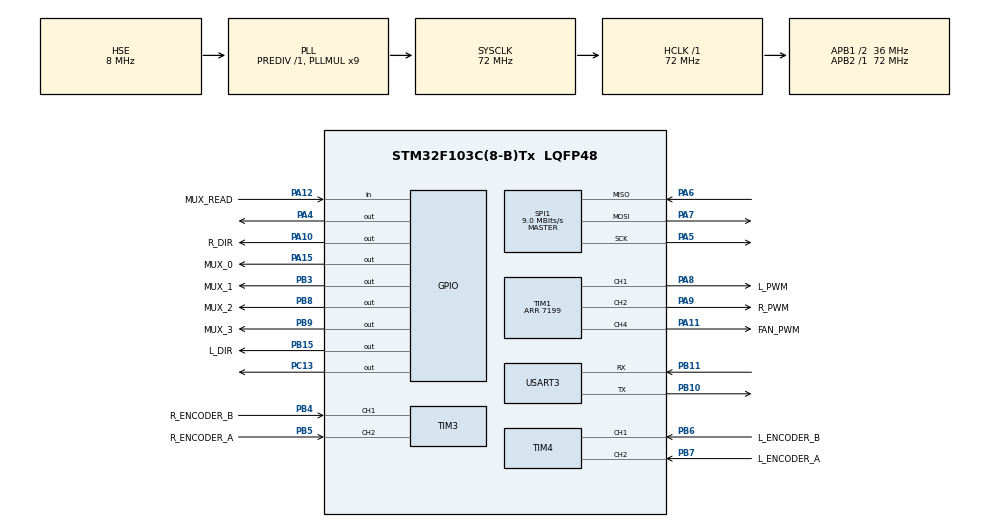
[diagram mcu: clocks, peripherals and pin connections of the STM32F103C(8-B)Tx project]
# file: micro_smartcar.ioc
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Dma.Request0=SPI1_RX
Dma.Request1=SPI1_TX
Dma.SPI1_RX.0.Direction=DMA_PERIPH_TO_MEMORY
Dma.SPI1_RX.0.Instance=DMA1_Channel2
Dma.SPI1_RX.0.MemDataAlignment=DMA_MDATAALIGN_BYTE
Dma.SPI1_RX.0.MemInc=DMA_MINC_ENABLE
Dma.SPI1_RX.0.Mode=DMA_NORMAL
Dma.SPI1_RX.0.PeriphDataAlignment=DMA_PDATAALIGN_BYTE
Dma.SPI1_RX.0.PeriphInc=DMA_PINC_DISABLE
Dma.SPI1_RX.0.Priority=DMA_PRIORITY_LOW
Dma.SPI1_TX.1.Direction=DMA_MEMORY_TO_PERIPH
Dma.SPI1_TX.1.Instance=DMA1_Channel3
Dma.SPI1_TX.1.MemDataAlignment=DMA_MDATAALIGN_BYTE
Dma.SPI1_TX.1.MemInc=DMA_MINC_ENABLE
Dma.SPI1_TX.1.Mode=DMA_NORMAL
Dma.SPI1_TX.1.PeriphDataAlignment=DMA_PDATAALIGN_BYTE
Dma.SPI1_TX.1.PeriphInc=DMA_PINC_DISABLE
Dma.SPI1_TX.1.Priority=DMA_PRIORITY_LOW
Mcu.Family=STM32F1
Mcu.Name=STM32F103C(8-B)Tx
Mcu.Package=LQFP48
NVIC.DMA1_Channel2_IRQn=true\:0\:0\:false\:false\:true\:false\:true\:true
NVIC.DMA1_Channel3_IRQn=true\:0\:0\:false\:false\:true\:false\:true\:true
NVIC.PriorityGroup=NVIC_PRIORITYGROUP_4
NVIC.RCC_IRQn=true\:0\:0\:false\:false\:true\:true\:false\:true
NVIC.SPI1_IRQn=true\:0\:0\:false\:false\:true\:true\:true\:true
NVIC.TIM2_IRQn=true\:1\:0\:true\:false\:true\:true\:true\:true
NVIC.TIM3_IRQn=true\:0\:0\:false\:false\:true\:true\:true\:true
NVIC.TIM4_IRQn=true\:0\:0\:false\:false\:true\:true\:true\:true
NVIC.USART3_IRQn=true\:0\:0\:false\:false\:true\:true\:true\:true
PA10.GPIO_Label=R_DIR
PA10.Signal=GPIO_Output
PA11.GPIO_Label=FAN_PWM
PA11.Signal=S_TIM1_CH4
PA12.GPIO_Label=MUX_READ
PA12.Signal=GPIO_Input
PA13.Mode=Serial_Wire
PA13.Signal=SYS_JTMS-SWDIO
PA14.Mode=Serial_Wire
PA14.Signal=SYS_JTCK-SWCLK
PA15.GPIO_Label=MUX_0
PA15.GPIO_Speed=GPIO_SPEED_FREQ_MEDIUM
PA15.Signal=GPIO_Output
PA4.GPIO_PuPd=GPIO_NOPULL
PA4.GPIO_Speed=GPIO_SPEED_FREQ_HIGH
PA4.Signal=GPIO_Output
PA5.Mode=Full_Duplex_Master
PA5.Signal=SPI1_SCK
PA6.Mode=Full_Duplex_Master
PA6.Signal=SPI1_MISO
PA7.Mode=Full_Duplex_Master
PA7.Signal=SPI1_MOSI
PA8.GPIO_Label=L_PWM
PA8.Signal=S_TIM1_CH1
PA9.GPIO_Label=R_PWM
PA9.Signal=S_TIM1_CH2
PB10.Mode=Asynchronous
PB10.Signal=USART3_TX
PB11.Mode=Asynchronous
PB11.Signal=USART3_RX
PB15.GPIO_Label=L_DIR
PB15.Signal=GPIO_Output
PB3.GPIO_Label=MUX_1
PB3.GPIO_Speed=GPIO_SPEED_FREQ_MEDIUM
PB3.Signal=GPIO_Output
PB4.GPIO_Label=R_ENCODER_B
PB4.Signal=S_TIM3_CH1
PB5.GPIO_Label=R_ENCODER_A
PB5.Signal=S_TIM3_CH2
PB6.GPIO_Label=L_ENCODER_B
PB6.Signal=S_TIM4_CH1
PB7.GPIO_Label=L_ENCODER_A
PB7.Signal=S_TIM4_CH2
PB8.GPIO_Label=MUX_2
PB8.GPIO_Speed=GPIO_SPEED_FREQ_MEDIUM
PB8.Signal=GPIO_Output
PB9.GPIO_Label=MUX_3
PB9.GPIO_Speed=GPIO_SPEED_FREQ_MEDIUM
PB9.Signal=GPIO_Output
PC13-TAMPER-RTC.GPIO_ModeDefaultOutputPP=GPIO_MODE_OUTPUT_OD
PC13-TAMPER-RTC.GPIO_PuPd=GPIO_NOPULL
PC13-TAMPER-RTC.Signal=GPIO_Output
PD0-OSC_IN.Mode=HSE-External-Oscillator
PD0-OSC_IN.Signal=RCC_OSC_IN
PD1-OSC_OUT.Mode=HSE-External-Oscillator
PD1-OSC_OUT.Signal=RCC_OSC_OUT
ProjectManager.HeapSize=0x200
ProjectManager.StackSize=0x400
ProjectManager.TargetToolchain=MDK-ARM V5.32
RCC.AHBFreq_Value=72000000
RCC.APB1CLKDivider=RCC_HCLK_DIV2
RCC.APB1Freq_Value=36000000
RCC.APB1TimFreq_Value=72000000
RCC.APB2Freq_Value=72000000
RCC.APB2TimFreq_Value=72000000
RCC.HCLKFreq_Value=72000000
RCC.PLLMUL=RCC_PLL_MUL9
RCC.PLLSourceVirtual=RCC_PLLSOURCE_HSE
RCC.SYSCLKFreq_VALUE=72000000
RCC.SYSCLKSource=RCC_SYSCLKSOURCE_PLLCLK
RCC.USBFreq_Value=72000000
SH.S_TIM1_CH1.0=TIM1_CH1,PWM Generation1 CH1
SH.S_TIM1_CH2.0=TIM1_CH2,PWM Generation2 CH2
SH.S_TIM1_CH4.0=TIM1_CH4,PWM Generation4 CH4
SH.S_TIM3_CH1.0=TIM3_CH1,Encoder_Interface
SH.S_TIM3_CH2.0=TIM3_CH2,Encoder_Interface
SH.S_TIM4_CH1.0=TIM4_CH1,Encoder_Interface
SH.S_TIM4_CH2.0=TIM4_CH2,Encoder_Interface
SPI1.BaudRatePrescaler=SPI_BAUDRATEPRESCALER_8
SPI1.CalculateBaudRate=9.0 MBits/s
SPI1.Direction=SPI_DIRECTION_2LINES
SPI1.Mode=SPI_MODE_MASTER
SPI1.VirtualType=VM_MASTER
TIM1.Channel-PWM\ Generation1\ CH1=TIM_CHANNEL_1
TIM1.Channel-PWM\ Generation2\ CH2=TIM_CHANNEL_2
TIM1.Channel-PWM\ Generation4\ CH4=TIM_CHANNEL_4
TIM1.Period=7199
TIM1.Pulse-PWM\ Generation1\ CH1=1000
TIM2.Period=4999
TIM2.Prescaler=71
TIM3.EncoderMode=TIM_ENCODERMODE_TI12
TIM4.EncoderMode=TIM_ENCODERMODE_TI12
USART3.VirtualMode=VM_ASYNC
VP_TIM1_VS_ClockSourceINT.Mode=Internal
VP_TIM2_VS_ClockSourceINT.Mode=Internal
board=custom

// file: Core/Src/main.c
/* USER CODE BEGIN Header */
/**
  ******************************************************************************
  * @file           : main.c
  * @brief          : Main program body
  ******************************************************************************
  * @attention
  *
  * Copyright (c) 2025 STMicroelectronics.
  * All rights reserved.
  *
  * This software is licensed under terms that can be found in the LICENSE file
  * in the root directory of this software component.
  * If no LICENSE file comes with this software, it is provided AS-IS.
  *
  * 本文件内含BMI270�????螺仪的使用示�????
  ******************************************************************************
  */
/* USER CODE END Header */
#include "main.h"

/* USER CODE BEGIN Includes */
#include "dodo_BMI270.h" //陀螺仪驱动
#include "multiplexer.h"//多路复用器驱动，用于读取光电管读数
#include "stdio.h"
#include "string.h"
/* USER CODE END Includes */

/* USER CODE BEGIN PD */
//#define integralLimit0 (20000)  //此值需计算
//#define integralLimit1 (20000)  后面加了
/* USER CODE END PD */

SPI_HandleTypeDef hspi1;
DMA_HandleTypeDef hdma_spi1_rx;
DMA_HandleTypeDef hdma_spi1_tx;

TIM_HandleTypeDef htim1;
TIM_HandleTypeDef htim2;
TIM_HandleTypeDef htim3;
TIM_HandleTypeDef htim4;

UART_HandleTypeDef huart3;

void SystemClock_Config(void);
static void MX_GPIO_Init(void);
static void MX_DMA_Init(void);
static void MX_SPI1_Init(void);
static void MX_TIM1_Init(void);
static void MX_TIM2_Init(void);
static void MX_TIM3_Init(void);
static void MX_USART3_UART_Init(void);
static void MX_TIM4_Init(void);

/* USER CODE BEGIN 0 */
int fputc(int ch, FILE *f)
{
  HAL_UART_Transmit(&huart3, (uint8_t *)&ch, 1, 0xffff);
  return ch;
}
	//光电管
  int8_t photo_weight[12] = {-4, -3, -2, -1, 0, 0, 0, 0, 1, 2, 3, 4};  // 权值
  uint8_t photo_val[12]={0};
	uint8_t restore_past_vio[12]={0}; //不全为0的上一帧数值

  float gyro_x, gyro_y, gyro_z, accel_x, accel_y, accel_z;//陀螺仪数据
  // PID控制器结构体
typedef struct {
    // 参数
    float Kp;
    float Ki;
    float Kd;

    // 状态变量
    float current_error;
    float pre_error;
    float inte_error;

    // 积分限幅
    float integral_limit;
} PID_Controller;

typedef enum
{
	  TASK_RUNNING,
	  TASK_DONE,
	  TASK_STOP,  //给出标志位的枚举类型
	  TASK_READY

}taskstate;

// 全局变量
/*const float Kp_angle=0;
const float Kd_angle=0;*/
volatile float measured_angle;

/*const float Kp_Angularvelocity=0;
const float Ki_Angularvelocity=0;
const float Kd_Angularvelocity=0;*/

/*const float Kp_vio=0;
const float Ki_vio=0;*/

const float target_angle=0;    // 与光电管PD相关的参数
uint16_t mux_value;            //存储光电管从多路复用器（MUX）读取到的 “打包数据”

volatile float target_Angularvelocity=0;
volatile float measured_Angularvelocity=0;
const float integralLimit0 = 100.0f;  // 角速度环积分限幅

volatile float target_translation_vio=90;//目标平动速度，给90貌似不太对？如果我们pwm占空比限幅是3600的话，这玩意乘以kp一下子就干满了？
volatile float target_leftwheelvio=0;
volatile float rotatevio_adding=0;
volatile float target_rightwheelvio=0;
volatile float measured_leftwheelvio=0;
volatile float measured_rightwheelvio=0;
volatile float circle_angle=0;
const float integralLimit1 = 100.0f;  // 速度环积分限幅

float leftoutput;
float leftpwm;
float rightoutput;
float rightpwm;
//标志位初始化
taskstate Circle_CalculateAngle_Flag=TASK_STOP;//是否开始计算角度（是否进入被环岛岔路入口干扰最近点）
taskstate Circle_OUT_Flag=TASK_STOP;//是否转完了360度刚出环岛
taskstate Is_Straight_Flag=TASK_STOP;//车身方向是否大致是直的
taskstate Circle_Destination_Flag=TASK_STOP;//车是否到达不被环岛干扰的最远点

//三个结构体定义
PID_Controller angle_pid_pd = {.Kp=425, 0, .Kd=1, 0, 0, 0, 0};  // 角度环只有PD
PID_Controller angular_velocity_pid_pid = {.Kp=0.33, .Ki=0.01, .Kd=0.001, 0, 0, 0, integralLimit0};
PID_Controller velocity_pid_pi_left = {.Kp=66, .Ki=5, 0, 0, 0, 0, integralLimit1};
PID_Controller velocity_pid_pi_right = {.Kp=66, .Ki=5, 0, 0, 0, 0, integralLimit1};

//前三个为PID参数，接下来三个是目前误差，前一次误差，以及积分加和误差，最后一个参数是积分限幅

void Calculate_measured_angle()
{
	if(circle_angle<350)//具体给345-360的哪个值到时候看效果
	{circle_angle+=gyro_z*0.005;}
	else{
	 Circle_OUT_Flag=TASK_DONE;
	 Circle_CalculateAngle_Flag=TASK_STOP;
	 circle_angle=0;
	}
    // 实现测量环岛转向角度计算，误差极小
	}

// PID计算函数
float PID_Calculate(PID_Controller* pid, float target, float measured)
{
    pid->current_error = target - measured;

    float output = pid->Kp * pid->current_error +
                   pid->Kd * (pid->current_error - pid->pre_error);

    // 只有Ki不为0时才计算积分项
    if (pid->Ki != 0) {
        pid->inte_error += pid->current_error;

        // 积分饱和处理
        if (pid->inte_error > pid->integral_limit) {
            pid->inte_error = pid->integral_limit;
        } else if (pid->inte_error < -pid->integral_limit) {
            pid->inte_error = -pid->integral_limit;
        }

        output += pid->Ki * pid->inte_error;
    }

    pid->pre_error = pid->current_error;
    return output;
}

void PIDcontrollor() // 第一种方案PID
{
	// 转向环，加入环岛判断与控制，按这样的逻辑转的不够不会出问题，但是转过头就会亖了（直行标志位的意义在于转角度少了能及时把控制权交给光电管PID）
	  if(Is_Straight_Flag==TASK_RUNNING && Circle_Destination_Flag != TASK_DONE )
    {
			target_Angularvelocity = 0;//防止再次进入环岛
		}
    else
		{
			target_Angularvelocity = PID_Calculate(&angle_pid_pd, target_angle, measured_angle);
			Circle_Destination_Flag=TASK_STOP;//清空标志位
		}
    // 角速度环
		if (gyro_z>2||gyro_z<-2)
		{measured_Angularvelocity=gyro_z;}
		else
		{measured_Angularvelocity=0;}
			//左正右负
    rotatevio_adding = PID_Calculate(&angular_velocity_pid_pid, target_Angularvelocity, measured_Angularvelocity);

    // 速度环
    target_leftwheelvio  =  target_translation_vio - rotatevio_adding;
    target_rightwheelvio = target_translation_vio + rotatevio_adding;

        // 左右轮分别控制
    rightoutput = PID_Calculate(&velocity_pid_pi_right, target_rightwheelvio, measured_rightwheelvio);
    leftoutput = PID_Calculate(&velocity_pid_pi_left, target_leftwheelvio, measured_leftwheelvio);

}
void navigated_running()
{
		int counter=0;

		for(int j=0;j<=11;j++)
			{
				if(photo_val[j]==0)
				{
					counter++;          //检测所有的光电管是不是都检测到界外
				}
			}

		if(counter == 12)
			{
				  for(int a=0;a<=11;a++)
			    {
					  photo_val[a]=restore_past_vio[a];
						measured_angle += photo_weight[a] * (photo_val[a]);
					}
			}
		else
			{
				for(int m=0;m<=11;m++)
			    {
					  restore_past_vio[m]=photo_val[m];
						measured_angle += photo_weight[m] * (photo_val[m]);
					}

			}

}

void Circle_Handler()
{

		if (photo_val[5]==1&&photo_val[6]==1)
		{
		   Is_Straight_Flag=TASK_RUNNING;           //挂起直行标志位（允许偏一点）
		}
		if(Is_Straight_Flag == TASK_RUNNING && photo_val[0]==1 && photo_val[2]==0)
		{
			if(Circle_OUT_Flag!=TASK_DONE)
			{
				Circle_CalculateAngle_Flag=  TASK_READY; //挂起检测到环岛入口的标志位
			}
      else
			{
			    Circle_Destination_Flag=TASK_DONE;  //挂起检测到环岛出口的标志位
				Circle_OUT_Flag=TASK_STOP;//清空标志位
			}
	  }
		if(Circle_CalculateAngle_Flag == TASK_READY)
		{
			Calculate_measured_angle();  //检测到入口后，开始解算角度
		}

}

void HAL_TIM_PeriodElapsedCallback(TIM_HandleTypeDef *htim){
	if(htim==&htim2){		//TIM2是5ms中断
		measured_leftwheelvio  = (int16_t)__HAL_TIM_GET_COUNTER(&htim4);
		measured_rightwheelvio = -(int16_t)__HAL_TIM_GET_COUNTER(&htim3);
		__HAL_TIM_SET_COUNTER(&htim4, 0);
		__HAL_TIM_SET_COUNTER(&htim3, 0);

		MUX_get_value(&mux_value);
		for(int i=0;i<=11;i++)//这个循环要塞在这里吗？放到中断回调不知道是不是会有问题，但是放到主循环又容易读不全//单从循环本身看，12 次迭代的耗时通常很短（可能在微秒级，远小于 1ms）
			{
				photo_val[i]=MUX_GET_CHANNEL(mux_value,i);//白色为1，蓝色为0
		     //measured_angle += photo_weight[i] * (photo_val[i]);
				 //读取并计算光电管加权
			}
		navigated_running();//小惯导处理直角
	  Circle_Handler();//环岛的判断与处理
		PIDcontrollor();
		measured_angle=0;
		memset(photo_val,0,sizeof(photo_val));//清零

		//输出限幅和调整
	 leftpwm= leftoutput;
	 rightpwm= rightoutput;

   if (leftpwm > 3600) {
     leftpwm = 3600;                 //限速
   }
	 else if (leftpwm <-3600) {
     leftpwm =-3600;
   }

   if (rightpwm > 3600) {
     rightpwm = 3600;
   }
   else if (rightpwm <-3600) {
     rightpwm =-3600;
   }

	 if ( leftpwm >= 0) {
		 TIM1->CCR1 =  leftpwm, HAL_GPIO_WritePin(GPIOB, GPIO_PIN_15, GPIO_PIN_RESET);
	 } else {
		 TIM1->CCR1 = -leftpwm, HAL_GPIO_WritePin(GPIOB, GPIO_PIN_15, GPIO_PIN_SET); // 操作ccr改pwm
	 }

   if ( rightpwm >= 0) {
     TIM1->CCR2 =  rightpwm, HAL_GPIO_WritePin(GPIOA, GPIO_PIN_10, GPIO_PIN_SET);
   } else {
     TIM1->CCR2 = -rightpwm, HAL_GPIO_WritePin(GPIOA, GPIO_PIN_10, GPIO_PIN_RESET);
   }
	}
		//printf("%d\r\n",(int)measured_rightwheelvio);
}
/* USER CODE END 0 */

int main(void)
{

  /* MCU Configuration--------------------------------------------------------*/

  /* Reset of all peripherals, Initializes the Flash interface and the Systick. */
  HAL_Init();

  /* Configure the system clock */
  SystemClock_Config();

  /* Initialize all configured peripherals */
  MX_GPIO_Init();
  MX_DMA_Init();
  MX_SPI1_Init();
  MX_TIM1_Init();
  MX_TIM2_Init();
  MX_TIM3_Init();
  MX_USART3_UART_Init();
  MX_TIM4_Init();
  /* USER CODE BEGIN 2 */
	dodo_BMI270_init();//初始化陀螺仪
  HAL_TIM_Base_Start_IT(&htim2);
	HAL_TIM_PWM_Start(&htim1,TIM_CHANNEL_1);
	HAL_TIM_PWM_Start(&htim1,TIM_CHANNEL_2);
	HAL_TIM_Encoder_Start(&htim3,TIM_CHANNEL_ALL);
	HAL_TIM_Encoder_Start(&htim4,TIM_CHANNEL_ALL);
  /* USER CODE END 2 */

  /* Infinite loop */
  /* USER CODE BEGIN WHILE */
  while (1)
  {
    //以下为陀螺仪使用示例
    dodo_BMI270_get_data();//调用此函数会更新陀螺仪数据
    gyro_x=BMI270_gyro_transition(BMI270_gyro_x);//将原始陀螺仪数据转换为物理值，单位为度每秒
    gyro_y=BMI270_gyro_transition(BMI270_gyro_y);
    gyro_z=BMI270_gyro_transition(BMI270_gyro_z);
		//TIM1->CCR1=3000;

    accel_x=BMI270_acc_transition(BMI270_accel_x);//将原始加速度计数据转换为物理值，单位为g，一般不需要使用此数据
    accel_y=BMI270_acc_transition(BMI270_accel_y);
    accel_z=BMI270_acc_transition(BMI270_accel_z);
    //printf("G: %f %f %f | A: %f %f %f\r\n", gyro_x, gyro_y, gyro_z, accel_x, accel_y, accel_z);
		//输出陀螺仪读数，测试是否成功启动，正常使用时不需要这行代码

		/*//以下为读取光电管的示例（从左到右编号0~11）
    uint16_t mux_value;
    MUX_get_value(&mux_value);
	  for(int i=0;i<=11;i++){
      printf("%d,",MUX_GET_CHANNEL(mux_value,i));//获取第i个光电管的数值并输出
    }
    printf("\n");*/
    /* USER CODE END WHILE */

  }
}

void SystemClock_Config(void)
{
  RCC_OscInitTypeDef RCC_OscInitStruct = {0};
  RCC_ClkInitTypeDef RCC_ClkInitStruct = {0};

  /** Initializes the RCC Oscillators according to the specified parameters
  * in the RCC_OscInitTypeDef structure.
  */
  RCC_OscInitStruct.OscillatorType = RCC_OSCILLATORTYPE_HSE;
  RCC_OscInitStruct.HSEState = RCC_HSE_ON;
  RCC_OscInitStruct.HSEPredivValue = RCC_HSE_PREDIV_DIV1;
  RCC_OscInitStruct.HSIState = RCC_HSI_ON;
  RCC_OscInitStruct.PLL.PLLState = RCC_PLL_ON;
  RCC_OscInitStruct.PLL.PLLSource = RCC_PLLSOURCE_HSE;
  RCC_OscInitStruct.PLL.PLLMUL = RCC_PLL_MUL9;
  if (HAL_RCC_OscConfig(&RCC_OscInitStruct) != HAL_OK)
  {
    Error_Handler();
  }

  /** Initializes the CPU, AHB and APB buses clocks
  */
  RCC_ClkInitStruct.ClockType = RCC_CLOCKTYPE_HCLK|RCC_CLOCKTYPE_SYSCLK
                              |RCC_CLOCKTYPE_PCLK1|RCC_CLOCKTYPE_PCLK2;
  RCC_ClkInitStruct.SYSCLKSource = RCC_SYSCLKSOURCE_PLLCLK;
  RCC_ClkInitStruct.AHBCLKDivider = RCC_SYSCLK_DIV1;
  RCC_ClkInitStruct.APB1CLKDivider = RCC_HCLK_DIV2;
  RCC_ClkInitStruct.APB2CLKDivider = RCC_HCLK_DIV1;

  if (HAL_RCC_ClockConfig(&RCC_ClkInitStruct, FLASH_LATENCY_2) != HAL_OK)
  {
    Error_Handler();
  }
}

static void MX_SPI1_Init(void)
{

  /* SPI1 parameter configuration*/
  hspi1.Instance = SPI1;
  hspi1.Init.Mode = SPI_MODE_MASTER;
  hspi1.Init.Direction = SPI_DIRECTION_2LINES;
  hspi1.Init.DataSize = SPI_DATASIZE_8BIT;
  hspi1.Init.CLKPolarity = SPI_POLARITY_LOW;
  hspi1.Init.CLKPhase = SPI_PHASE_1EDGE;
  hspi1.Init.NSS = SPI_NSS_SOFT;
  hspi1.Init.BaudRatePrescaler = SPI_BAUDRATEPRESCALER_8;
  hspi1.Init.FirstBit = SPI_FIRSTBIT_MSB;
  hspi1.Init.TIMode = SPI_TIMODE_DISABLE;
  hspi1.Init.CRCCalculation = SPI_CRCCALCULATION_DISABLE;
  hspi1.Init.CRCPolynomial = 10;
  if (HAL_SPI_Init(&hspi1) != HAL_OK)
  {
    Error_Handler();
  }

}

static void MX_TIM1_Init(void)
{

  TIM_ClockConfigTypeDef sClockSourceConfig = {0};
  TIM_MasterConfigTypeDef sMasterConfig = {0};
  TIM_OC_InitTypeDef sConfigOC = {0};
  TIM_BreakDeadTimeConfigTypeDef sBreakDeadTimeConfig = {0};

  htim1.Instance = TIM1;
  htim1.Init.Prescaler = 0;
  htim1.Init.CounterMode = TIM_COUNTERMODE_UP;
  htim1.Init.Period = 7199;
  htim1.Init.ClockDivision = TIM_CLOCKDIVISION_DIV1;
  htim1.Init.RepetitionCounter = 0;
  htim1.Init.AutoReloadPreload = TIM_AUTORELOAD_PRELOAD_DISABLE;
  if (HAL_TIM_Base_Init(&htim1) != HAL_OK)
  {
    Error_Handler();
  }
  sClockSourceConfig.ClockSource = TIM_CLOCKSOURCE_INTERNAL;
  if (HAL_TIM_ConfigClockSource(&htim1, &sClockSourceConfig) != HAL_OK)
  {
    Error_Handler();
  }
  if (HAL_TIM_PWM_Init(&htim1) != HAL_OK)
  {
    Error_Handler();
  }
  sMasterConfig.MasterOutputTrigger = TIM_TRGO_RESET;
  sMasterConfig.MasterSlaveMode = TIM_MASTERSLAVEMODE_DISABLE;
  if (HAL_TIMEx_MasterConfigSynchronization(&htim1, &sMasterConfig) != HAL_OK)
  {
    Error_Handler();
  }
  sConfigOC.OCMode = TIM_OCMODE_PWM1;
  sConfigOC.Pulse = 1000;
  sConfigOC.OCPolarity = TIM_OCPOLARITY_HIGH;
  sConfigOC.OCNPolarity = TIM_OCNPOLARITY_HIGH;
  sConfigOC.OCFastMode = TIM_OCFAST_DISABLE;
  sConfigOC.OCIdleState = TIM_OCIDLESTATE_RESET;
  sConfigOC.OCNIdleState = TIM_OCNIDLESTATE_RESET;
  if (HAL_TIM_PWM_ConfigChannel(&htim1, &sConfigOC, TIM_CHANNEL_1) != HAL_OK)
  {
    Error_Handler();
  }
  sConfigOC.Pulse = 0;
  if (HAL_TIM_PWM_ConfigChannel(&htim1, &sConfigOC, TIM_CHANNEL_2) != HAL_OK)
  {
    Error_Handler();
  }
  if (HAL_TIM_PWM_ConfigChannel(&htim1, &sConfigOC, TIM_CHANNEL_4) != HAL_OK)
  {
    Error_Handler();
  }
  sBreakDeadTimeConfig.OffStateRunMode = TIM_OSSR_DISABLE;
  sBreakDeadTimeConfig.OffStateIDLEMode = TIM_OSSI_DISABLE;
  sBreakDeadTimeConfig.LockLevel = TIM_LOCKLEVEL_OFF;
  sBreakDeadTimeConfig.DeadTime = 0;
  sBreakDeadTimeConfig.BreakState = TIM_BREAK_DISABLE;
  sBreakDeadTimeConfig.BreakPolarity = TIM_BREAKPOLARITY_HIGH;
  sBreakDeadTimeConfig.AutomaticOutput = TIM_AUTOMATICOUTPUT_DISABLE;
  if (HAL_TIMEx_ConfigBreakDeadTime(&htim1, &sBreakDeadTimeConfig) != HAL_OK)
  {
    Error_Handler();
  }
  HAL_TIM_MspPostInit(&htim1);

}

static void MX_TIM2_Init(void)
{

  TIM_ClockConfigTypeDef sClockSourceConfig = {0};
  TIM_MasterConfigTypeDef sMasterConfig = {0};

  htim2.Instance = TIM2;
  htim2.Init.Prescaler = 71;
  htim2.Init.CounterMode = TIM_COUNTERMODE_UP;
  htim2.Init.Period = 4999;
  htim2.Init.ClockDivision = TIM_CLOCKDIVISION_DIV1;
  htim2.Init.AutoReloadPreload = TIM_AUTORELOAD_PRELOAD_DISABLE;
  if (HAL_TIM_Base_Init(&htim2) != HAL_OK)
  {
    Error_Handler();
  }
  sClockSourceConfig.ClockSource = TIM_CLOCKSOURCE_INTERNAL;
  if (HAL_TIM_ConfigClockSource(&htim2, &sClockSourceConfig) != HAL_OK)
  {
    Error_Handler();
  }
  sMasterConfig.MasterOutputTrigger = TIM_TRGO_RESET;
  sMasterConfig.MasterSlaveMode = TIM_MASTERSLAVEMODE_DISABLE;
  if (HAL_TIMEx_MasterConfigSynchronization(&htim2, &sMasterConfig) != HAL_OK)
  {
    Error_Handler();
  }

}

static void MX_TIM3_Init(void)
{

  TIM_Encoder_InitTypeDef sConfig = {0};
  TIM_MasterConfigTypeDef sMasterConfig = {0};

  htim3.Instance = TIM3;
  htim3.Init.Prescaler = 0;
  htim3.Init.CounterMode = TIM_COUNTERMODE_UP;
  htim3.Init.Period = 65535;
  htim3.Init.ClockDivision = TIM_CLOCKDIVISION_DIV1;
  htim3.Init.AutoReloadPreload = TIM_AUTORELOAD_PRELOAD_DISABLE;
  sConfig.EncoderMode = TIM_ENCODERMODE_TI12;
  sConfig.IC1Polarity = TIM_ICPOLARITY_RISING;
  sConfig.IC1Selection = TIM_ICSELECTION_DIRECTTI;
  sConfig.IC1Prescaler = TIM_ICPSC_DIV1;
  sConfig.IC1Filter = 0;
  sConfig.IC2Polarity = TIM_ICPOLARITY_RISING;
  sConfig.IC2Selection = TIM_ICSELECTION_DIRECTTI;
  sConfig.IC2Prescaler = TIM_ICPSC_DIV1;
  sConfig.IC2Filter = 0;
  if (HAL_TIM_Encoder_Init(&htim3, &sConfig) != HAL_OK)
  {
    Error_Handler();
  }
  sMasterConfig.MasterOutputTrigger = TIM_TRGO_RESET;
  sMasterConfig.MasterSlaveMode = TIM_MASTERSLAVEMODE_DISABLE;
  if (HAL_TIMEx_MasterConfigSynchronization(&htim3, &sMasterConfig) != HAL_OK)
  {
    Error_Handler();
  }

}

static void MX_TIM4_Init(void)
{

  TIM_Encoder_InitTypeDef sConfig = {0};
  TIM_MasterConfigTypeDef sMasterConfig = {0};

  htim4.Instance = TIM4;
  htim4.Init.Prescaler = 0;
  htim4.Init.CounterMode = TIM_COUNTERMODE_UP;
  htim4.Init.Period = 65535;
  htim4.Init.ClockDivision = TIM_CLOCKDIVISION_DIV1;
  htim4.Init.AutoReloadPreload = TIM_AUTORELOAD_PRELOAD_DISABLE;
  sConfig.EncoderMode = TIM_ENCODERMODE_TI12;
  sConfig.IC1Polarity = TIM_ICPOLARITY_RISING;
  sConfig.IC1Selection = TIM_ICSELECTION_DIRECTTI;
  sConfig.IC1Prescaler = TIM_ICPSC_DIV1;
  sConfig.IC1Filter = 0;
  sConfig.IC2Polarity = TIM_ICPOLARITY_RISING;
  sConfig.IC2Selection = TIM_ICSELECTION_DIRECTTI;
  sConfig.IC2Prescaler = TIM_ICPSC_DIV1;
  sConfig.IC2Filter = 0;
  if (HAL_TIM_Encoder_Init(&htim4, &sConfig) != HAL_OK)
  {
    Error_Handler();
  }
  sMasterConfig.MasterOutputTrigger = TIM_TRGO_RESET;
  sMasterConfig.MasterSlaveMode = TIM_MASTERSLAVEMODE_DISABLE;
  if (HAL_TIMEx_MasterConfigSynchronization(&htim4, &sMasterConfig) != HAL_OK)
  {
    Error_Handler();
  }

}

static void MX_USART3_UART_Init(void)
{

  huart3.Instance = USART3;
  huart3.Init.BaudRate = 115200;
  huart3.Init.WordLength = UART_WORDLENGTH_8B;
  huart3.Init.StopBits = UART_STOPBITS_1;
  huart3.Init.Parity = UART_PARITY_NONE;
  huart3.Init.Mode = UART_MODE_TX_RX;
  huart3.Init.HwFlowCtl = UART_HWCONTROL_NONE;
  huart3.Init.OverSampling = UART_OVERSAMPLING_16;
  if (HAL_UART_Init(&huart3) != HAL_OK)
  {
    Error_Handler();
  }

}

static void MX_DMA_Init(void)
{

  /* DMA controller clock enable */
  __HAL_RCC_DMA1_CLK_ENABLE();

  /* DMA interrupt init */
  /* DMA1_Channel2_IRQn interrupt configuration */
  HAL_NVIC_SetPriority(DMA1_Channel2_IRQn, 0, 0);
  HAL_NVIC_EnableIRQ(DMA1_Channel2_IRQn);
  /* DMA1_Channel3_IRQn interrupt configuration */
  HAL_NVIC_SetPriority(DMA1_Channel3_IRQn, 0, 0);
  HAL_NVIC_EnableIRQ(DMA1_Channel3_IRQn);

}

static void MX_GPIO_Init(void)
{
  GPIO_InitTypeDef GPIO_InitStruct = {0};

  /* GPIO Ports Clock Enable */
  __HAL_RCC_GPIOC_CLK_ENABLE();
  __HAL_RCC_GPIOD_CLK_ENABLE();
  __HAL_RCC_GPIOA_CLK_ENABLE();
  __HAL_RCC_GPIOB_CLK_ENABLE();

  /*Configure GPIO pin Output Level */
  HAL_GPIO_WritePin(GPIOC, GPIO_PIN_13, GPIO_PIN_RESET);

  /*Configure GPIO pin Output Level */
  HAL_GPIO_WritePin(GPIOA, GPIO_PIN_4|R_DIR_Pin|MUX_0_Pin, GPIO_PIN_RESET);

  /*Configure GPIO pin Output Level */
  HAL_GPIO_WritePin(GPIOB, L_DIR_Pin|MUX_1_Pin|MUX_2_Pin|MUX_3_Pin, GPIO_PIN_RESET);

  /*Configure GPIO pin : PC13 */
  GPIO_InitStruct.Pin = GPIO_PIN_13;
  GPIO_InitStruct.Mode = GPIO_MODE_OUTPUT_OD;
  GPIO_InitStruct.Pull = GPIO_NOPULL;
  GPIO_InitStruct.Speed = GPIO_SPEED_FREQ_LOW;
  HAL_GPIO_Init(GPIOC, &GPIO_InitStruct);

  /*Configure GPIO pin : PA4 */
  GPIO_InitStruct.Pin = GPIO_PIN_4;
  GPIO_InitStruct.Mode = GPIO_MODE_OUTPUT_PP;
  GPIO_InitStruct.Pull = GPIO_NOPULL;
  GPIO_InitStruct.Speed = GPIO_SPEED_FREQ_HIGH;
  HAL_GPIO_Init(GPIOA, &GPIO_InitStruct);

  /*Configure GPIO pin : L_DIR_Pin */
  GPIO_InitStruct.Pin = L_DIR_Pin;
  GPIO_InitStruct.Mode = GPIO_MODE_OUTPUT_PP;
  GPIO_InitStruct.Pull = GPIO_NOPULL;
  GPIO_InitStruct.Speed = GPIO_SPEED_FREQ_LOW;
  HAL_GPIO_Init(L_DIR_GPIO_Port, &GPIO_InitStruct);

  /*Configure GPIO pin : R_DIR_Pin */
  GPIO_InitStruct.Pin = R_DIR_Pin;
  GPIO_InitStruct.Mode = GPIO_MODE_OUTPUT_PP;
  GPIO_InitStruct.Pull = GPIO_NOPULL;
  GPIO_InitStruct.Speed = GPIO_SPEED_FREQ_LOW;
  HAL_GPIO_Init(R_DIR_GPIO_Port, &GPIO_InitStruct);

  /*Configure GPIO pin : MUX_READ_Pin */
  GPIO_InitStruct.Pin = MUX_READ_Pin;
  GPIO_InitStruct.Mode = GPIO_MODE_INPUT;
  GPIO_InitStruct.Pull = GPIO_NOPULL;
  HAL_GPIO_Init(MUX_READ_GPIO_Port, &GPIO_InitStruct);

  /*Configure GPIO pin : MUX_0_Pin */
  GPIO_InitStruct.Pin = MUX_0_Pin;
  GPIO_InitStruct.Mode = GPIO_MODE_OUTPUT_PP;
  GPIO_InitStruct.Pull = GPIO_NOPULL;
  GPIO_InitStruct.Speed = GPIO_SPEED_FREQ_MEDIUM;
  HAL_GPIO_Init(MUX_0_GPIO_Port, &GPIO_InitStruct);

  /*Configure GPIO pins : MUX_1_Pin MUX_2_Pin MUX_3_Pin */
  GPIO_InitStruct.Pin = MUX_1_Pin|MUX_2_Pin|MUX_3_Pin;
  GPIO_InitStruct.Mode = GPIO_MODE_OUTPUT_PP;
  GPIO_InitStruct.Pull = GPIO_NOPULL;
  GPIO_InitStruct.Speed = GPIO_SPEED_FREQ_MEDIUM;
  HAL_GPIO_Init(GPIOB, &GPIO_InitStruct);

}

void Error_Handler(void)
{
  __disable_irq();
  while (1)
  {
  }
}
